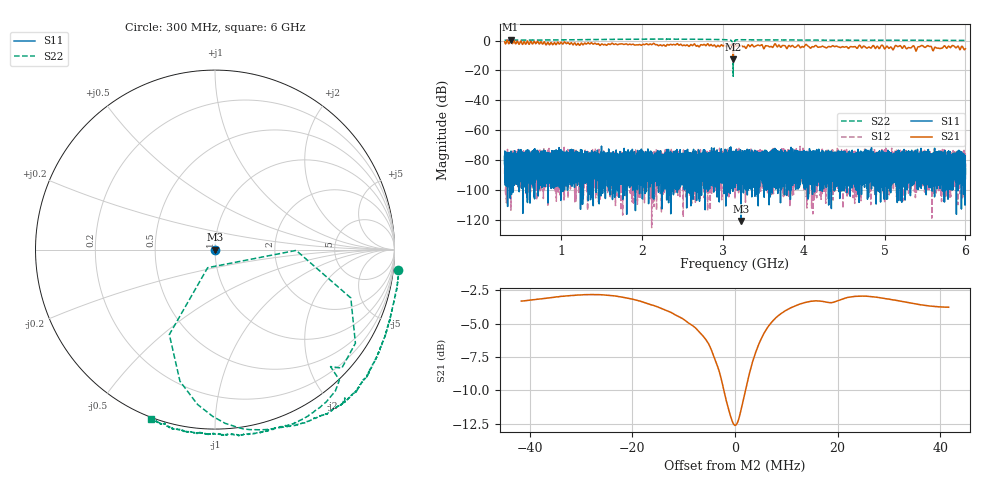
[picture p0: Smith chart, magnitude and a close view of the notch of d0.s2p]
!Agilent Technologies,N5230C,SG49000117,A.08.50.07
!Agilent N5230C: A.08.50.07
!Date: Sunday, March 17, 2024 09:24:29
!Correction: S11(Off)
!S21(Off)
!S12(Off)
!S22(Full 1 Port(2))
!S2P File: Measurements: S11, S21, S12, S22:
# Hz S  RI  R 50
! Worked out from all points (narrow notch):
!   20001 points, 300 MHz to 6 GHz, reference 50 ohm
!   highest |S21| = 0.47 dB at 374.1 MHz (marker M1); lowest = -12.6 dB at 3.126 GHz (marker M2)
!   notch at M2: 9.3 dB deep, 6.94 MHz wide at half that depth
!   lowest |S11| = -120.5 dB at 3.224 GHz (marker M3), VSWR 1.00, Z = 50 - j9.22e-05 ohm
!   |S11| at or under -10 dB: start of sweep to end of sweep
!   |S22| runs from -23.9 to 1.0 dB; largest |S21 - S12| = 1.1
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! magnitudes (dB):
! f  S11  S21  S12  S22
! 300 MHz  -81.6  -0.9  -89.1  0.2
! 374.1 MHz  -82.4  0.5  -79.3  0.3
! 1.25 GHz  -74.8  -1.7  -78.6  0.6
! 2.2 GHz  -79.3  -3.4  -82.8  0.9
! 3.056 GHz  -76.3  -3.6  -76.5  0.5
! 3.09 GHz  -91.4  -3.1  -93.7  0.3
! 3.104 GHz  -99.0  -3.0  -78.7  0.0
! 3.126 GHz  -78.8  -12.6  -79.9  -14.7
! 3.15 GHz  -81.0  -3.0  -82.6  0.1
! 3.164 GHz  -78.4  -3.7  -78.9  0.4
! 3.224 GHz  -120.5  -3.3  -81.0  0.5
! 3.978 GHz  -84.0  -4.0  -85.7  0.3
! 4.036 GHz  -79.4  -2.9  -84.7  0.3
! 4.1 GHz  -80.1  -4.3  -75.4  0.3
! 5.05 GHz  -83.8  -5.1  -82.1  0.2
! 5.167 GHz  -78.9  -4.1  -82.9  0.2
! 5.398 GHz  -81.9  -6.2  -79.1  0.2
! 5.445 GHz  -84.2  -3.7  -79.4  0.2
! 5.549 GHz  -82.9  -3.8  -85.3  0.2
! 5.615 GHz  -78.1  -5.2  -78.7  0.1
! 5.848 GHz  -78.9  -3.3  -83.5  0.1
! 6 GHz  -92.2  -5.5  -85.5  0.1
